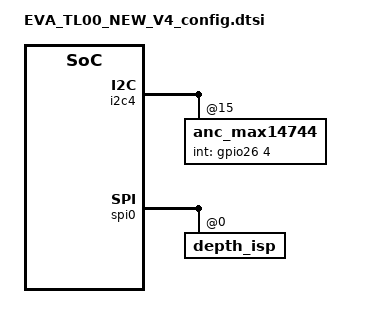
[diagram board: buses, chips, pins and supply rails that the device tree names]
/**
 * Huawei Ltd.
 * PhosphorV660
 */


/include/ "EVA_TUGL_V1_config.dtsi"

/{
	hisi,modem_id = <0x3C012000>;
	hisi,boardid = <3 5 6 6>;
	hisi,boardname = "EVA_TL00_NEW_V4";
	huawei,imx286dual{
		compatible = "huawei,imx286dual";
		huawei,sensor_name = "IMX286DUAL";
	};
	amba{
		i2c4: i2c@FDF0D000{
			anc_max14744: anc_max14744@15{
				gpio_int = <&gpio26 4 0>;
				pinctrl-names = "default", "idle";
				pinctrl-0 = <&gpio010_hi6402_pinctrl_func>;
				pinctrl-1 = <&gpio010_hi6402_pinctrl_idle>;
				status = "ok";
			};
		};
		spi0: spi@ffd70000{
			depth_isp: depth_isp@0 {
				/*chip-type 1:dummy  2:Al6045  4:Al6610*/
				depth_isp,chip_type = <1>;
			};
		};
	};
};
